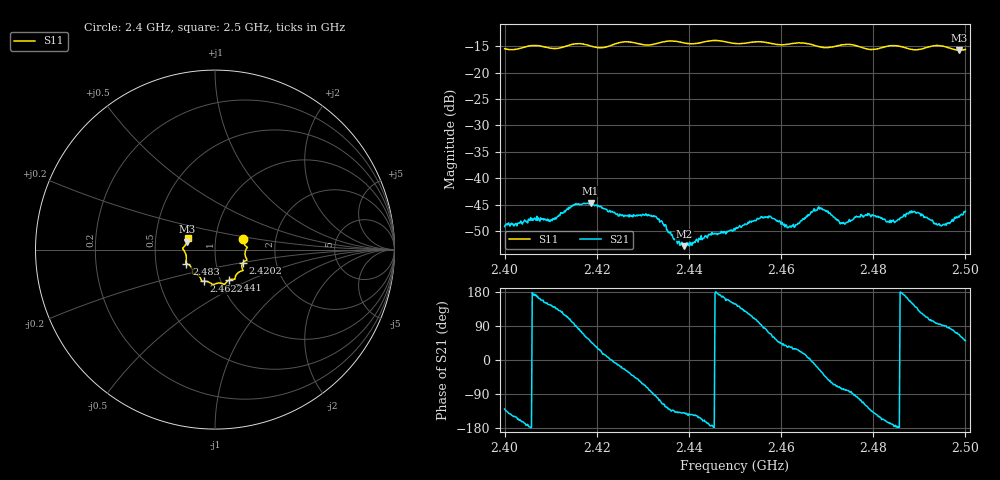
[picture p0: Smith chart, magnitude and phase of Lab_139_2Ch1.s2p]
# Hz S RI R 50
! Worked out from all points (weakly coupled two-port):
!   601 points, 2.4 GHz to 2.5 GHz, reference 50 ohm
!   highest |S21| = -44.66 dB at 2.4187 GHz (marker M1); lowest = -52.8 dB at 2.439 GHz (marker M2)
!   lowest |S11| = -15.8 dB at 2.4987 GHz (marker M3), VSWR 1.39, Z = 36.4 + j3.31 ohm
!   |S11| at or under -10 dB: start of sweep to end of sweep
!   S12 and S22 are empty: the file has one direction only
!   S11 on the Smith chart (normalised r, x): 2.4 GHz: 1.36, +0.17; 2.4202 GHz: 1.35, -0.20; 2.441 GHz: 1.10, -0.39; 2.4622 GHz: 0.83, -0.30; 2.483 GHz: 0.72, -0.12; 2.5 GHz: 0.73, +0.09
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2.4e9  0.1564 0.0604  -0.00222 -0.00269  0 0  0 0
2.410333e9  0.1687 -0.0112  -0.00312 0.00247  0 0  0 0
2.416667e9  0.1777 -0.0583  0.00146 0.00548  0 0  0 0
2.418667e9  0.1671 -0.0628  0.00391 0.00435  0 0  0 0
2.420167e9  0.1562 -0.0719  0.00468 0.00267  0 0  0 0
2.424833e9  0.1551 -0.1121  0.00426 -0.0011  0 0  0 0
2.433333e9  0.1129 -0.1523  -0.000791 -0.004  0 0  0 0
2.439e9  0.0959 -0.1647  -0.00175 -0.00146  0 0  0 0
2.441e9  0.0769 -0.1703  -0.00203 -0.00137  0 0  0 0
2.45e9  0.0267 -0.1864  -0.00275 0.00171  0 0  0 0
2.457167e9  -0.0195 -0.19  0.00117 0.00405  0 0  0 0
2.462167e9  -0.063 -0.1764  0.00287 0.0019  0 0  0 0
2.466667e9  -0.0766 -0.167  0.00474 -0.000357  0 0  0 0
2.468667e9  -0.0853 -0.1516  0.00443 -0.00262  0 0  0 0
2.473333e9  -0.1222 -0.1363  0.000862 -0.00362  0 0  0 0
2.478833e9  -0.129 -0.1048  -0.00265 -0.00382  0 0  0 0
2.483e9  -0.159 -0.0779  -0.0037 -0.00109  0 0  0 0
2.483333e9  -0.1605 -0.0772  -0.00377 -0.00102  0 0  0 0
2.4885e9  -0.1596 -0.0419  -0.00402 0.00251  0 0  0 0
2.494333e9  -0.1795 0.00795  -0.000236 0.0037  0 0  0 0
2.498667e9  -0.156 0.0443  0.00168 0.00396  0 0  0 0
2.5e9  -0.153 0.0629  0.00308 0.00379  0 0  0 0
